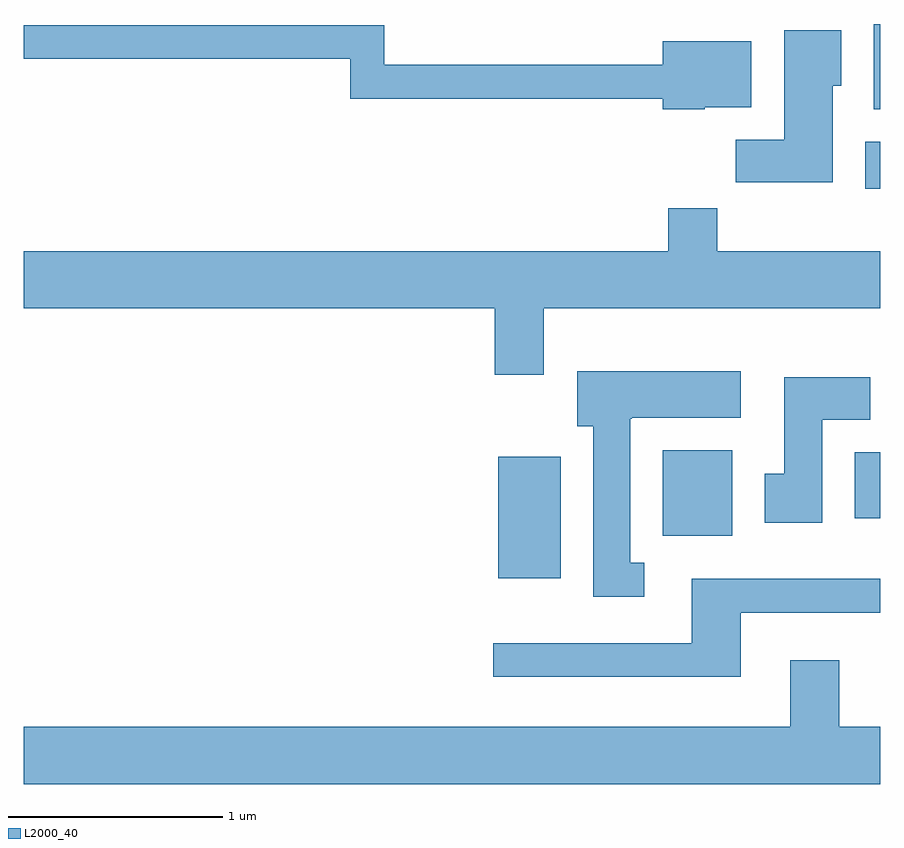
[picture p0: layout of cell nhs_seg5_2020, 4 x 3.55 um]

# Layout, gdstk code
import gdstk
lib = gdstk.Library(unit=1e-6, precision=1e-09)
def R(c, l, rs):  # rectangles x0, y0, x1, y1
    for r in rs: c.add(gdstk.rectangle(r[:2], r[2:], *l))
def P(c, l, *ps):  # polygons
    for p in ps: c.add(gdstk.Polygon(p, *l))
L2000_40 = (2000, 40)

nhs_seg5_2020 = lib.new_cell('nhs_seg5_2020')
R(nhs_seg5_2020, L2000_40, [(247.826,1413.356,248.119,1413.924), (248.596,1413.556,248.919,1413.954), (249.491,1413.636,249.611,1413.944), (249.541,1415.176,249.611,1415.394), (249.581,1415.546,249.611,1415.944)])
P(nhs_seg5_2020, L2000_40, [(248.79,1415.556),(249.009,1415.556),(249.009,1415.864),(248.596,1415.864),(248.596,1415.754),(247.294,1415.754),(247.294,1415.939),(245.611,1415.939),(245.611,1415.781),(247.136,1415.781),(247.136,1415.596),(248.596,1415.596),(248.596,1415.546),(248.79,1415.546)],
  [(249.389,1415.656),(249.429,1415.656),(249.429,1415.914),(249.161,1415.914),(249.161,1415.404),(248.936,1415.404),(248.936,1415.206),(249.389,1415.206)],
  [(248.039,1414.616),(249.611,1414.616),(249.611,1414.884),(248.849,1414.884),(248.849,1415.084),(248.621,1415.084),(248.621,1414.884),(245.611,1414.884),(245.611,1414.616),(247.811,1414.616),(247.811,1414.306),(248.039,1414.306)],
  [(248.508,1413.429),(248.444,1413.429),(248.444,1414.1),(248.45,1414.1),(248.45,1414.106),(248.959,1414.106),(248.959,1414.324),(248.196,1414.324),(248.196,1414.066),(248.271,1414.066),(248.271,1413.271),(248.508,1413.271)],
  [(249.339,1414.096),(249.564,1414.096),(249.564,1414.294),(249.161,1414.294),(249.161,1413.844),(249.071,1413.844),(249.071,1413.616),(249.339,1413.616)],
  [(248.959,1413.196),(249.611,1413.196),(249.611,1413.354),(248.731,1413.354),(248.731,1413.054),(247.803,1413.054),(247.803,1412.896),(248.959,1412.896)],
  [(249.611,1412.664),(249.419,1412.664),(249.419,1412.974),(249.191,1412.974),(249.191,1412.664),(245.611,1412.664),(245.611,1412.396),(249.611,1412.396)])

lib.write_gds('nhs_seg5_2020.gds')
